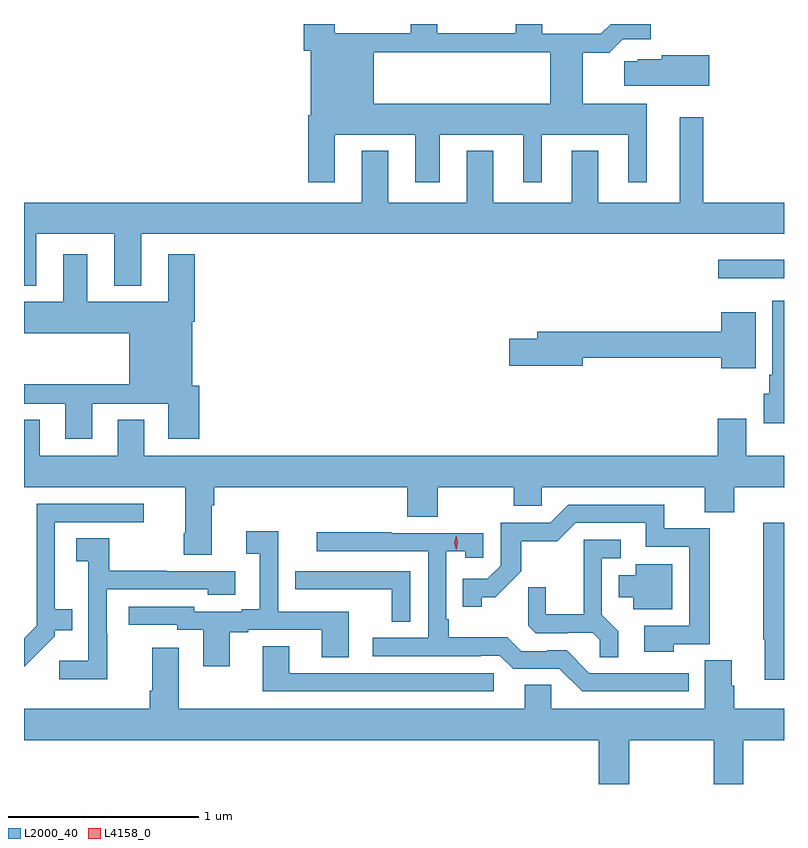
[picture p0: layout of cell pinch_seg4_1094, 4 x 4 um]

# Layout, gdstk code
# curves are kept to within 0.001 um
import gdstk
lib = gdstk.Library(unit=1e-6, precision=1e-09)
def R(c, l, rs):  # rectangles x0, y0, x1, y1
    for r in rs: c.add(gdstk.rectangle(r[:2], r[2:], *l))
def P(c, l, *ps):  # polygons
    for p in ps: c.add(gdstk.Polygon(p, *l))
L2000_40 = (2000, 40)
L4158_0 = (4158, 0)

pinch_seg4_1094 = lib.new_cell('pinch_seg4_1094')
R(pinch_seg4_1094, L2000_40, [(423.735,799.251,424.081,799.348)])
P(pinch_seg4_1094, L2000_40, [(421.577,800.11),(421.577,799.755),(421.717,799.755),(421.717,800.006),(422.141,800.006),(422.141,799.755),(422.269,799.755),(422.269,800.006),(422.708,800.006),(422.708,799.755),(422.806,799.755),(422.806,800.006),(423.26,800.006),(423.26,799.755),(423.358,799.755),(423.358,800.17),(423.022,800.17),(423.022,800.438),(423.161,800.438),(423.231,800.508),(423.379,800.508),(423.379,800.589),(423.168,800.589),(423.117,800.538),(422.809,800.538),(422.809,800.589),(422.669,800.589),(422.669,800.541),(422.257,800.541),(422.257,800.589),(422.117,800.589),(422.117,800.541),(421.717,800.541),(421.717,800.589),(421.553,800.589),(421.553,800.448),(421.589,800.448),(421.589,800.17),(421.921,800.17),(421.921,800.44),(422.852,800.44),(422.852,800.17),(421.589,800.17),(421.589,800.11)],
  [(423.688,800.425),(423.438,800.425),(423.438,800.404),(423.312,800.404),(423.312,800.393),(423.24,800.393),(423.24,800.264),(423.688,800.264)],
  [(420.145,799.484),(420.557,799.484),(420.557,799.211),(420.697,799.211),(420.697,799.484),(424.081,799.484),(424.081,799.648),(423.655,799.648),(423.655,800.098),(423.533,800.098),(423.533,799.648),(423.103,799.648),(423.103,799.921),(422.963,799.921),(422.963,799.648),(422.551,799.648),(422.551,799.921),(422.411,799.921),(422.411,799.648),(421.999,799.648),(421.999,799.921),(421.859,799.921),(421.859,799.648),(420.081,799.648),(420.081,799.211),(420.145,799.211)],
  [(420.439,798.591),(420.839,798.591),(420.839,798.405),(421.004,798.405),(421.004,798.684),(420.967,798.684),(420.967,799.022),(420.98,799.022),(420.98,799.378),(420.839,799.378),(420.839,799.126),(420.415,799.126),(420.415,799.378),(420.287,799.378),(420.287,799.126),(420.081,799.126),(420.081,798.962),(420.635,798.962),(420.635,798.692),(420.081,798.692),(420.081,798.591),(420.299,798.591),(420.299,798.405),(420.439,798.405)],
  [(424.081,799.132),(424.019,799.132),(424.019,798.742),(424.004,798.742),(424.004,798.642),(423.974,798.642),(423.974,798.488),(424.081,798.488)],
  [(423.931,799.072),(423.752,799.072),(423.752,798.968),(422.783,798.968),(422.783,798.932),(422.634,798.932),(422.634,798.79),(423.022,798.79),(423.022,798.832),(423.752,798.832),(423.752,798.776),(423.931,798.776)],
  [(421.069,798.056),(421.082,798.056),(421.082,798.152),(422.099,798.152),(422.099,797.995),(422.259,797.995),(422.259,798.152),(422.659,798.152),(422.659,798.054),(422.805,798.054),(422.805,798.152),(423.665,798.152),(423.665,798.019),(423.818,798.019),(423.818,798.152),(424.081,798.152),(424.081,798.316),(423.883,798.316),(423.883,798.511),(423.731,798.511),(423.731,798.316),(420.715,798.316),(420.715,798.506),(420.575,798.506),(420.575,798.316),(420.163,798.316),(420.163,798.506),(420.081,798.506),(420.081,798.152),(420.929,798.152),(420.929,797.908),(420.922,797.908),(420.922,797.796),(421.069,797.796)],
  [(420.243,797.367),(420.243,797.399),(420.335,797.399),(420.335,797.509),(420.244,797.509),(420.244,797.967),(420.712,797.967),(420.712,798.063),(420.147,798.063),(420.147,797.421),(420.081,797.355),(420.081,797.205)],
  [(423.501,797.325),(423.691,797.325),(423.691,797.934),(423.452,797.934),(423.452,798.06),(422.946,798.06),(422.85,797.964),(422.589,797.964),(422.589,797.739),(422.52,797.67),(422.389,797.67),(422.389,797.523),(422.49,797.523),(422.49,797.573),(422.56,797.573),(422.698,797.71),(422.698,797.866),(422.887,797.866),(422.985,797.964),(423.353,797.964),(423.353,797.838),(423.582,797.838),(423.582,797.421),(423.345,797.421),(423.345,797.285),(423.501,797.285)],
  [(424.081,797.965),(423.973,797.965),(423.973,797.351),(423.98,797.351),(423.98,797.139),(424.081,797.139)],
  [(421.165,797.388),(421.261,797.388),(421.261,797.4),(421.649,797.4),(421.649,797.257),(421.789,797.257),(421.789,797.496),(421.419,797.496),(421.419,797.92),(421.251,797.92),(421.251,797.8),(421.322,797.8),(421.322,797.509),(421.226,797.509),(421.226,797.496),(420.978,797.496),(420.978,797.523),(420.633,797.523),(420.633,797.427),(420.888,797.427),(420.888,797.4),(421.025,797.4),(421.025,797.208),(421.165,797.208)],
  [(423.58,797.172),(423.057,797.172),(422.937,797.292),(422.836,797.292),(422.836,797.289),(422.697,797.289),(422.624,797.362),(422.317,797.362),(422.317,797.455),(422.304,797.455),(422.304,797.813),(422.403,797.813),(422.403,797.781),(422.499,797.781),(422.499,797.91),(422.015,797.91),(422.015,797.913),(421.623,797.913),(421.623,797.814),(422.208,797.814),(422.208,797.358),(421.917,797.358),(421.917,797.262),(422.486,797.262),(422.486,797.265),(422.586,797.265),(422.655,797.196),(422.898,797.196),(423.018,797.076),(423.58,797.076)],
  [(420.519,797.381),(420.516,797.381),(420.516,797.613),(421.047,797.613),(421.047,797.585),(421.192,797.585),(421.192,797.709),(420.833,797.709),(420.833,797.712),(420.529,797.712),(420.529,797.882),(420.357,797.882),(420.357,797.761),(420.42,797.761),(420.42,797.239),(420.267,797.239),(420.267,797.141),(420.519,797.141)],
  [(423.209,797.393),(423.123,797.479),(423.123,797.778),(423.223,797.778),(423.223,797.874),(423.026,797.874),(423.026,797.482),(422.828,797.482),(422.828,797.625),(422.734,797.625),(422.734,797.423),(422.775,797.382),(422.94,797.382),(422.94,797.385),(423.074,797.385),(423.111,797.348),(423.111,797.257),(423.209,797.257)],
  [(423.493,797.746),(423.302,797.746),(423.302,797.689),(423.212,797.689),(423.212,797.573),(423.287,797.573),(423.287,797.51),(423.493,797.51)],
  [(422.115,797.709),(421.509,797.709),(421.509,797.614),(421.621,797.614),(421.621,797.613),(422.017,797.613),(422.017,797.443),(422.115,797.443)],
  [(422.554,797.172),(421.477,797.172),(421.477,797.315),(421.337,797.315),(421.337,797.076),(422.554,797.076)],
  [(423.267,796.82),(423.712,796.82),(423.712,796.589),(423.867,796.589),(423.867,796.82),(424.081,796.82),(424.081,796.984),(423.818,796.984),(423.818,797.106),(423.805,797.106),(423.805,797.24),(423.665,797.24),(423.665,796.984),(422.856,796.984),(422.856,797.111),(422.717,797.111),(422.717,796.984),(420.895,796.984),(420.895,797.305),(420.755,797.305),(420.755,797.08),(420.743,797.08),(420.743,796.984),(420.081,796.984),(420.081,796.82),(423.107,796.82),(423.107,796.589),(423.267,796.589)])
P(pinch_seg4_1094, L4158_0, [(422.355,797.823),(422.355,797.823),(422.345,797.859),(422.355,797.895),(422.355,797.895),(422.356,797.895),(422.365,797.859),(422.356,797.823)])

lib.write_gds('pinch_seg4_1094.gds')
